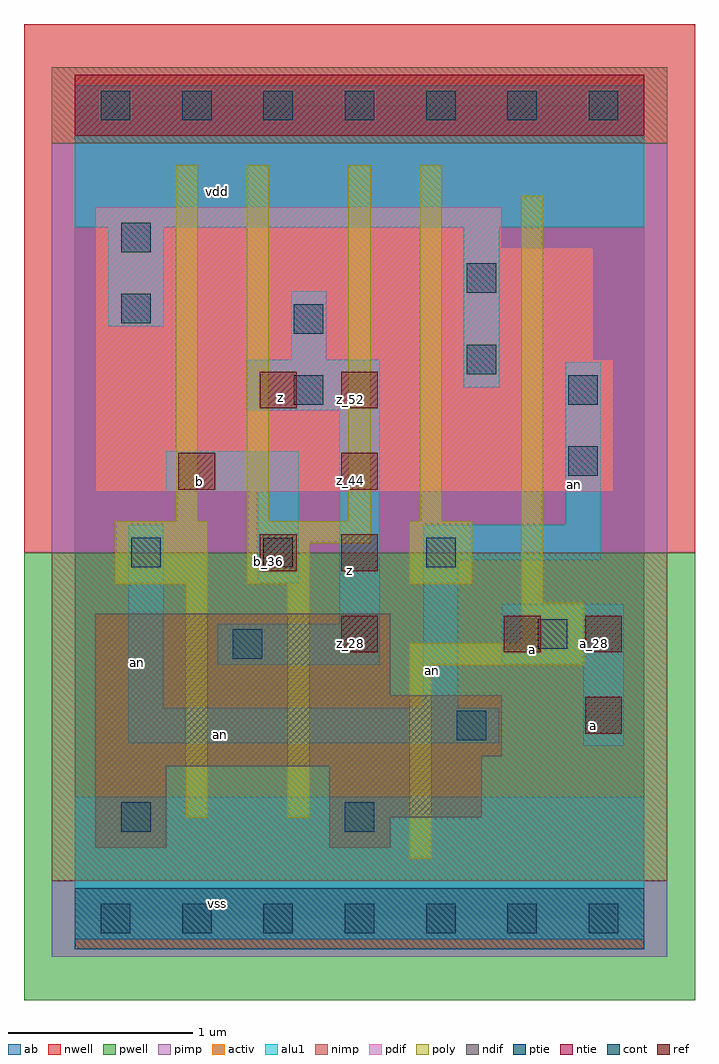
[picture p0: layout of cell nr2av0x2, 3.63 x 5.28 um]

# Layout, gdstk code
import gdstk
lib = gdstk.Library(unit=1e-6, precision=2.5e-09)
def R(c, l, rs):  # rectangles x0, y0, x1, y1
    for r in rs: c.add(gdstk.rectangle(r[:2], r[2:], *l))
def A(c, l, x, y, w, h, nx, ny, dx, dy):  # array of equal rectangles
    R(c, l, [(x+i*dx, y+j*dy, x+i*dx+w, y+j*dy+h) for i in range(nx) for j in range(ny)])
ndif = (3, 0)
pdif = (4, 0)
ntie = (5, 0)
ptie = (6, 0)
ref = (24, 0)
cont = (25, 0)
pwell = (41, 0)
nwell = (42, 0)
activ = (43, 0)
pimp = (44, 0)
nimp = (45, 0)
poly = (46, 0)
alu1 = (49, 0)
ab = (63, 0)

nr2av0x2 = lib.new_cell('nr2av0x2')
R(nr2av0x2, ndif, [(0.11,0.385,0.495,0.825), (1.375,0.385,1.705,0.55), (1.375,0.55,2.2,0.825), (0.11,0.825,2.2,0.88), (0.11,0.88,2.31,1.21), (0.11,1.21,1.705,1.65)])
R(nr2av0x2, pdif, [(0.11,2.31,2.915,3.025), (0.11,3.025,2.805,3.63), (0.11,3.63,2.31,3.85)])
R(nr2av0x2, ntie, [(0,4.235,3.08,4.565)])
R(nr2av0x2, ptie, [(0,-0.165,3.08,0.165)])
A(nr2av0x2, ref, 1.44, 1.44, 0.2, 0.2, 1, 4, 0, 0.44)
R(nr2av0x2, ref, [(2.76,1,2.96,1.2), (2.32,1.44,2.52,1.64), (2.76,1.44,2.96,1.64), (1,1.88,1.2,2.08), (0.56,2.32,0.76,2.52), (1,2.76,1.2,2.96)])
A(nr2av0x2, cont, 0.14, -0.08, 0.16, 0.16, 7, 2, 0.44, 4.4)
R(nr2av0x2, cont, [(0.25,0.47,0.41,0.63), (1.46,0.47,1.62,0.63), (2.065,0.965,2.225,1.125), (0.855,1.405,1.015,1.565), (2.505,1.46,2.665,1.62), (0.305,1.9,0.465,2.06), (1.02,1.9,1.18,2.06), (1.9,1.9,2.06,2.06), (2.67,2.395,2.83,2.555), (1.185,2.78,1.345,2.94), (2.67,2.78,2.83,2.94), (2.12,2.945,2.28,3.105), (1.185,3.165,1.345,3.325), (0.25,3.22,0.41,3.38), (2.12,3.385,2.28,3.545), (0.25,3.605,0.41,3.765)])
R(nr2av0x2, pwell, [(-0.275,-0.44,3.355,1.98)])
R(nr2av0x2, nwell, [(-0.275,1.98,3.355,4.84)])
R(nr2av0x2, activ, [(0,-0.165,3.08,0.165), (0.11,0.385,0.495,0.825), (1.375,0.385,1.705,0.55), (1.375,0.55,2.2,0.825), (0.11,0.825,2.2,0.88), (0.11,0.88,2.31,1.21), (0.11,1.21,1.705,1.65), (0.11,2.31,2.915,3.025), (0.11,3.025,2.805,3.63), (0.11,3.63,2.31,3.85), (0,4.235,3.08,4.565)])
R(nr2av0x2, pimp, [(-0.125,-0.205,3.205,0.205), (-0.125,1.98,3.205,4.195)])
R(nr2av0x2, nimp, [(-0.125,0.205,3.205,1.98), (-0.125,4.195,3.205,4.605)])
R(nr2av0x2, poly, [(1.81,0.325,1.93,1.37), (0.6,0.545,0.72,1.81), (1.15,0.545,1.27,1.81), (1.81,1.37,2.755,1.49), (2.415,1.49,2.755,1.71), (2.415,1.71,2.535,3.91), (0.215,1.81,0.72,2.15), (0.93,1.81,1.27,2.03), (1.81,1.81,2.15,2.15), (0.93,2.03,1.6,2.15), (0.545,2.15,0.665,4.075), (0.93,2.15,1.05,4.075), (1.48,2.15,1.6,4.075), (1.865,2.15,1.985,4.075)])
R(nr2av0x2, alu1, [(0,-0.11,3.08,0.66), (2.75,0.935,2.97,1.375), (0.29,0.95,2.295,1.14), (0.29,1.14,0.48,2.13), (1.885,1.14,2.075,1.94), (0.77,1.375,1.65,1.595), (2.31,1.375,2.97,1.705), (1.43,1.595,1.65,2.75), (0.99,1.815,1.21,2.31), (1.885,1.94,2.845,2.13), (2.655,2.13,2.845,3.01), (0.495,2.31,1.21,2.53), (0.935,2.75,1.65,3.025), (2.105,2.875,2.295,3.74), (1.17,3.025,1.36,3.395), (0.18,3.205,0.48,3.74), (0,3.74,3.08,4.51)])
R(nr2av0x2, ab, [(0,0,3.08,4.4)])
nr2av0x2.add(gdstk.Label('vss', (0.77,0.0825), layer=49, texttype=0))
nr2av0x2.add(gdstk.Label('a', (2.805,1.045), layer=49, texttype=0))
nr2av0x2.add(gdstk.Label('an', (0.79,0.9975), layer=49, texttype=0))
nr2av0x2.add(gdstk.Label('a', (2.475,1.4575), layer=49, texttype=0))
nr2av0x2.add(gdstk.Label('an', (1.9325,1.34), layer=49, texttype=0))
nr2av0x2.add(gdstk.Label('an', (2.7025,2.35), layer=49, texttype=0))
nr2av0x2.add(gdstk.Label('z', (1.485,1.8825), layer=49, texttype=0))
nr2av0x2.add(gdstk.Label('an', (0.3375,1.3875), layer=49, texttype=0))
nr2av0x2.add(gdstk.Label('b', (0.6725,2.365), layer=49, texttype=0))
nr2av0x2.add(gdstk.Label('z', (1.1125,2.8175), layer=49, texttype=0))
nr2av0x2.add(gdstk.Label('vdd', (0.77,3.9325), layer=49, texttype=0))
nr2av0x2.add(gdstk.Label('b_44', (0.61,2.37), layer=24, texttype=0))
nr2av0x2.add(gdstk.Label('b_36', (1.05,1.93), layer=24, texttype=0))
nr2av0x2.add(gdstk.Label('z_52', (1.05,2.81), layer=24, texttype=0))
nr2av0x2.add(gdstk.Label('z_28', (1.49,1.49), layer=24, texttype=0))
nr2av0x2.add(gdstk.Label('z_36', (1.49,1.93), layer=24, texttype=0))
nr2av0x2.add(gdstk.Label('z_44', (1.49,2.37), layer=24, texttype=0))
nr2av0x2.add(gdstk.Label('z_52', (1.49,2.81), layer=24, texttype=0))
nr2av0x2.add(gdstk.Label('a_28', (2.37,1.49), layer=24, texttype=0))
nr2av0x2.add(gdstk.Label('a_20', (2.81,1.05), layer=24, texttype=0))
nr2av0x2.add(gdstk.Label('a_28', (2.81,1.49), layer=24, texttype=0))

lib.write_gds('nr2av0x2.gds')
